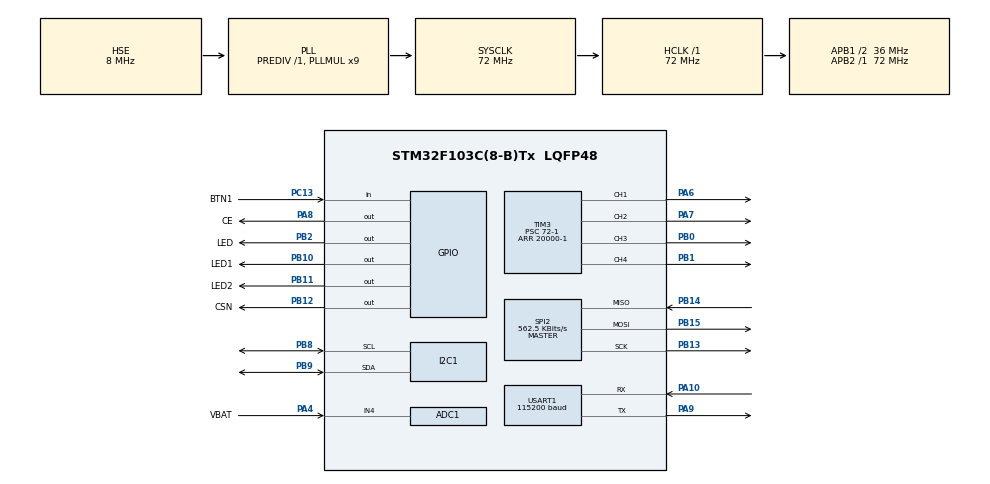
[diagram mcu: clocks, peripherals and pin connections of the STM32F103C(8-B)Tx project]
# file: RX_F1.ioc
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Mcu.Family=STM32F1
SPI2.VirtualType=VM_MASTER
ADC1.ContinuousConvMode=ENABLE
USART1.BaudRate=115200
NVIC.TIM1_UP_IRQn=true\:0\:0\:false\:false\:true\:true\:true
PB11.Signal=GPIO_Output
PB13.Signal=SPI2_SCK
PB15.Signal=SPI2_MOSI
TIM3.Channel-PWM\ Generation4\ CH4=TIM_CHANNEL_4
RCC.SYSCLKSource=RCC_SYSCLKSOURCE_PLLCLK
ProjectManager.StackSize=0x400
PD1-OSC_OUT.Signal=RCC_OSC_OUT
TIM1.Prescaler=6-1
RCC.HCLKFreq_Value=72000000
RCC.APB2TimFreq_Value=72000000
TIM3.Period=20000-1
Dma.ADC1.0.Direction=DMA_PERIPH_TO_MEMORY
Dma.ADC1.0.MemDataAlignment=DMA_MDATAALIGN_HALFWORD
RCC.AHBFreq_Value=72000000
SPI2.BaudRatePrescaler=SPI_BAUDRATEPRESCALER_64
TIM3.Channel-PWM\ Generation1\ CH1=TIM_CHANNEL_1
ADC1.Channel-0\#ChannelRegularConversion=ADC_CHANNEL_4
PB2.Signal=GPIO_Output
RCC.PLLMUL=RCC_PLL_MUL9
PB12.GPIO_Label=CSN
PA14.Mode=Serial_Wire
PB14.Mode=Full_Duplex_Master
TIM3.Prescaler=72-1
Dma.ADC1.0.PeriphInc=DMA_PINC_DISABLE
NVIC.TIM2_IRQn=true\:0\:0\:false\:false\:true\:true\:true
SPI2.CalculateBaudRate=562.5 KBits/s
PA8.Signal=GPIO_Output
SH.S_TIM3_CH1.0=TIM3_CH1,PWM Generation1 CH1
VP_TIM1_VS_ClockSourceINT.Mode=Internal
ADC1.SamplingTime-0\#ChannelRegularConversion=ADC_SAMPLETIME_239CYCLES_5
PB9.Signal=I2C1_SDA
Mcu.Package=LQFP48
TIM2.Prescaler=72-1
PA6.Signal=S_TIM3_CH1
PB1.Signal=S_TIM3_CH4
SPI2.Mode=SPI_MODE_MASTER
PA10.Signal=USART1_RX
RCC.APB1TimFreq_Value=72000000
SPI2.Direction=SPI_DIRECTION_2LINES
TIM1.Period=48000-1
PB13.Mode=Full_Duplex_Master
Dma.Request0=ADC1
PA4.GPIO_Label=VBAT
VP_TIM3_VS_ClockSourceINT.Mode=Internal
RCC.PLLSourceVirtual=RCC_PLLSOURCE_HSE
Dma.ADC1.0.Instance=DMA1_Channel1
ADC1.Rank-0\#ChannelRegularConversion=1
PD1-OSC_OUT.Mode=HSE-External-Oscillator
PA10.Mode=Asynchronous
PB11.GPIO_Label=LED2
PC13-TAMPER-RTC.Signal=GPIO_Input
PD0-OSC_IN.Signal=RCC_OSC_IN
RCC.APB1CLKDivider=RCC_HCLK_DIV2
SH.S_TIM3_CH3.0=TIM3_CH3,PWM Generation3 CH3
RCC.ADCPresc=RCC_ADCPCLK2_DIV6
PA13.Signal=SYS_JTMS-SWDIO
TIM3.Channel-PWM\ Generation3\ CH3=TIM_CHANNEL_3
Dma.ADC1.0.PeriphDataAlignment=DMA_PDATAALIGN_HALFWORD
PA9.Mode=Asynchronous
PA8.GPIO_Label=CE
ProjectManager.TargetToolchain=STM32CubeIDE
PB10.GPIO_Label=LED1
Dma.ADC1.0.Mode=DMA_CIRCULAR
I2C1.I2C_Mode=I2C_Fast
Dma.ADC1.0.Priority=DMA_PRIORITY_LOW
PB9.Mode=I2C
PA9.Signal=USART1_TX
RCC.USBFreq_Value=72000000
PD0-OSC_IN.Mode=HSE-External-Oscillator
PB10.Signal=GPIO_Output
PB14.Signal=SPI2_MISO
SH.S_TIM3_CH2.0=TIM3_CH2,PWM Generation2 CH2
NVIC.TIM1_TRG_COM_IRQn=true\:0\:0\:false\:false\:true\:true\:true
board=custom
PC13-TAMPER-RTC.GPIO_Label=BTN1
PB15.Mode=Full_Duplex_Master
RCC.APB2Freq_Value=72000000
VP_TIM2_VS_ClockSourceINT.Mode=Internal
SH.ADCx_IN4.0=ADC1_IN4,IN4
TIM2.Period=50000-1
ADC1.NbrOfConversion=1
PA13.Mode=Serial_Wire
Mcu.Name=STM32F103C(8-B)Tx
NVIC.TIM1_CC_IRQn=true\:0\:0\:false\:false\:true\:true\:true
PA4.Signal=ADCx_IN4
RCC.SYSCLKFreq_VALUE=72000000
ADC1.master=1
USART1.VirtualMode=VM_ASYNC
PA14.Signal=SYS_JTCK-SWCLK
Dma.ADC1.0.MemInc=DMA_MINC_ENABLE
PB2.GPIO_Label=LED
NVIC.TIM1_BRK_IRQn=true\:0\:0\:false\:false\:true\:true\:true
ProjectManager.HeapSize=0x200
NVIC.PriorityGroup=NVIC_PRIORITYGROUP_4
ADC1.NbrOfConversionFlag=1
TIM3.Channel-PWM\ Generation2\ CH2=TIM_CHANNEL_2
PB8.Mode=I2C
PB8.Signal=I2C1_SCL
NVIC.DMA1_Channel1_IRQn=true\:0\:0\:false\:false\:true\:false\:true
RCC.APB1Freq_Value=36000000
PB0.Signal=S_TIM3_CH3
PB12.Signal=GPIO_Output
SH.S_TIM3_CH4.0=TIM3_CH4,PWM Generation4 CH4
PA7.Signal=S_TIM3_CH2

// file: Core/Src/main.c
/* USER CODE BEGIN Header */
/**
  ******************************************************************************
  * @file           : main.c
  * @brief          : Main program body
  ******************************************************************************
  * @attention
  *
  * <h2><center>&copy; Copyright (c) 2021 STMicroelectronics.
  * All rights reserved.</center></h2>
  *
  * This software component is licensed by ST under BSD 3-Clause license,
  * the "License"; You may not use this file except in compliance with the
  * License. You may obtain a copy of the License at:
  *                        opensource.org/licenses/BSD-3-Clause
  *
  ******************************************************************************
  */
/* USER CODE END Header */
#include "main.h"

/* USER CODE BEGIN Includes */
#include "MY_NRF24L01.h"
#include "ST_MPU6050.h"
/* USER CODE END Includes */

/* USER CODE BEGIN PD */
#define dt 0.004f
//#define __ESC_PROGRAMMING
/* USER CODE END PD */

ADC_HandleTypeDef hadc1;
DMA_HandleTypeDef hdma_adc1;

I2C_HandleTypeDef hi2c1;

SPI_HandleTypeDef hspi2;

TIM_HandleTypeDef htim1;
TIM_HandleTypeDef htim2;
TIM_HandleTypeDef htim3;

UART_HandleTypeDef huart1;

/* USER CODE BEGIN PV */

uint8_t ui8RBuffer[32];
uint8_t ui8RAck[32];
uint64_t RxpipeAddrs = 0xFF223344AA;
ACK_Packagae ackPac = ACK_ERROR_SENT;
//For PWM
uint16_t ui16Pwm[4];

//For IMU
MPU6050_AcceDataScaled mpuAcScaled;
MPU6050_GyroDataScaled mpuGyScaled;
MPU6050_AcceAxis mpuAcAxis;
MPU6050_GyroAxis mpuGyAxis;
MPU6050_GyroDataScaled mpuGyOffset;
MPU6050_AcceAxis mpuAcOffset;
uint8_t ui8Buffer[40];
// Variable for user
uint16_t ui16UserBuffer;
uint16_t ui16UserThurst = 1000;
float flUSerRoll, flUserPitch, flUserYaw;
// For System
float VBat = 12;																// Battery Voltage
uint16_t ui16VBat;
float flThrust1 , flThrust2, flThrust3, flThrust4;			// Speed of Motor

// Variable for PID Roll
float errorRc, errorRp;
float KpR = 3.0  , KiR = 1.5 , KdR = 0.5;
float RollP, RollI, RollD;
float RollPID;

//Variable for PID Pitch
float errorPc, errorPp;
float KpP = 3.0  , KiP = 0.9, KdP = 0.15;
float PitchP, PitchI, PitchD;
float PitchPID;

//Variable for PID Yaw
float errorYc, errorYp;
float KpY = 3, KiY = 0.1, KdY;
float YawP, YawI, YawD;
float YawPID;
//System State
CONTROL_State ctlState = CONTROL_STOP;
/* USER CODE END PV */

void SystemClock_Config(void);
static void MX_GPIO_Init(void);
static void MX_DMA_Init(void);
static void MX_USART1_UART_Init(void);
static void MX_TIM1_Init(void);
static void MX_SPI2_Init(void);
static void MX_TIM2_Init(void);
static void MX_TIM3_Init(void);
static void MX_I2C1_Init(void);
static void MX_ADC1_Init(void);
/* USER CODE BEGIN PFP */
void HAL_TIM_PeriodElapsedCallback(TIM_HandleTypeDef *htim);
bool Compare_String (uint8_t* ui8String1, uint8_t* ui8String2, uint8_t ui8Size);
void ConvertString2Int (uint16_t* ui16Int, uint8_t* ui8String);
void RollPIDCal (void);
void AngleCal (void);
void PitchPIDCal (void);
void YawPIDCal (void);
void MotorThrust (void);
void CompareThrust (float* flValue);
void ConvertPID (float* flConstant, uint8_t* ui8Data);
void SetPID (float* flP, float* flI, float* flD);
void Baterry_Calculate (uint16_t *ui16AdcVal, float * Vbat);
/* USER CODE END PFP */

int main(void)
{

  /* MCU Configuration--------------------------------------------------------*/

  /* Reset of all peripherals, Initializes the Flash interface and the Systick. */
  HAL_Init();

  /* Configure the system clock */
  SystemClock_Config();

  /* Initialize all configured peripherals */
  MX_GPIO_Init();
  MX_DMA_Init();
  MX_USART1_UART_Init();
  MX_TIM1_Init();
  MX_SPI2_Init();
  MX_TIM2_Init();
  MX_TIM3_Init();
  MX_I2C1_Init();
  MX_ADC1_Init();
  /* USER CODE BEGIN 2 */
  HAL_TIM_PWM_Start(&htim3, TIM_CHANNEL_1);
  HAL_TIM_PWM_Start(&htim3, TIM_CHANNEL_2);
  HAL_TIM_PWM_Start(&htim3, TIM_CHANNEL_3);
  HAL_TIM_PWM_Start(&htim3, TIM_CHANNEL_4);
  htim3.Instance->CCR1 = 1000;
  htim3.Instance->CCR2 = 1000;
  htim3.Instance->CCR3 = 1000;
  htim3.Instance->CCR4 = 1000;

  //Mpu 6050 Initialise
#ifndef __ESC_PROGRAMMING
  uint8_t i ;
  MPU6050_InitTypedef mpuInit;
  mpuInit.ui8AcceFullScale = MPU6050_ACCE_FULLSCALE_2G;
  mpuInit.ui8GyroFullScale = MPU6050_GYRO_FULLSCALE_500DPS;
  mpuInit.ui8DLPF 		   = MPU6050_DLPF_4;
  MPU6050_Init(&mpuInit, &hi2c1);
  for (i = 0; i < 10; i++)
  {
	  HAL_GPIO_TogglePin(LED_GPIO_Port, LED_Pin);
	  if(HAL_GPIO_ReadPin(BTN1_GPIO_Port, BTN1_Pin) == 0)
	  {
		  MPU6050_Calib(&mpuAcAxis, &mpuGyOffset, 100);
		  break;
	  }
	  HAL_Delay(300);
  }
  if(mpuGyOffset.x == 0)
  {
	  mpuGyOffset.x = 0.754504144;
	  mpuGyOffset.y = -2.73450375;
	  mpuGyOffset.z = -0.113435157;
	  HAL_GPIO_WritePin(LED_GPIO_Port, LED_Pin, 0);
	  HAL_Delay(100);
	  HAL_GPIO_WritePin(LED_GPIO_Port, LED_Pin, 1);
	  HAL_Delay(100);
	  HAL_GPIO_WritePin(LED_GPIO_Port, LED_Pin, 0);
  }
#endif

  //NRF24 - L01 Initialise
  NRF24_begin(CSN_GPIO_Port, CSN_Pin, CE_Pin, hspi2);
  nrf24_DebugUART_Init(huart1);
  NRF24_setAutoAck(true);
  NRF24_setChannel(11);
  NRF24_setPayloadSize(32);
  NRF24_stopListening();
  NRF24_openReadingPipe(0, RxpipeAddrs);
  NRF24_openWritingPipe(RxpipeAddrs);
  NRF24_setAutoAck(true);
  NRF24_enableAckPayload();
  NRF24_enableDynamicPayloads();
//  NRF24_setPALevel(RF24_PA_m6dB);
  NRF24_startListening();
  printRadioSettings();
  HAL_TIM_Base_Start_IT(&htim1);
  HAL_TIM_Base_Start_IT(&htim2);
  HAL_Delay(5);
  HAL_ADC_Start_DMA(&hadc1, (uint32_t *)&ui16VBat, 1);
  /* USER CODE END 2 */

  /* Infinite loop */
  while (1)
  {

  }
}

void SystemClock_Config(void)
{
  RCC_OscInitTypeDef RCC_OscInitStruct = {0};
  RCC_ClkInitTypeDef RCC_ClkInitStruct = {0};
  RCC_PeriphCLKInitTypeDef PeriphClkInit = {0};

  /** Initializes the RCC Oscillators according to the specified parameters
  * in the RCC_OscInitTypeDef structure.
  */
  RCC_OscInitStruct.OscillatorType = RCC_OSCILLATORTYPE_HSE;
  RCC_OscInitStruct.HSEState = RCC_HSE_ON;
  RCC_OscInitStruct.HSEPredivValue = RCC_HSE_PREDIV_DIV1;
  RCC_OscInitStruct.HSIState = RCC_HSI_ON;
  RCC_OscInitStruct.PLL.PLLState = RCC_PLL_ON;
  RCC_OscInitStruct.PLL.PLLSource = RCC_PLLSOURCE_HSE;
  RCC_OscInitStruct.PLL.PLLMUL = RCC_PLL_MUL9;
  if (HAL_RCC_OscConfig(&RCC_OscInitStruct) != HAL_OK)
  {
    Error_Handler();
  }
  /** Initializes the CPU, AHB and APB buses clocks
  */
  RCC_ClkInitStruct.ClockType = RCC_CLOCKTYPE_HCLK|RCC_CLOCKTYPE_SYSCLK
                              |RCC_CLOCKTYPE_PCLK1|RCC_CLOCKTYPE_PCLK2;
  RCC_ClkInitStruct.SYSCLKSource = RCC_SYSCLKSOURCE_PLLCLK;
  RCC_ClkInitStruct.AHBCLKDivider = RCC_SYSCLK_DIV1;
  RCC_ClkInitStruct.APB1CLKDivider = RCC_HCLK_DIV2;
  RCC_ClkInitStruct.APB2CLKDivider = RCC_HCLK_DIV1;

  if (HAL_RCC_ClockConfig(&RCC_ClkInitStruct, FLASH_LATENCY_2) != HAL_OK)
  {
    Error_Handler();
  }
  PeriphClkInit.PeriphClockSelection = RCC_PERIPHCLK_ADC;
  PeriphClkInit.AdcClockSelection = RCC_ADCPCLK2_DIV6;
  if (HAL_RCCEx_PeriphCLKConfig(&PeriphClkInit) != HAL_OK)
  {
    Error_Handler();
  }
}

static void MX_ADC1_Init(void)
{

  ADC_ChannelConfTypeDef sConfig = {0};

  /** Common config
  */
  hadc1.Instance = ADC1;
  hadc1.Init.ScanConvMode = ADC_SCAN_DISABLE;
  hadc1.Init.ContinuousConvMode = ENABLE;
  hadc1.Init.DiscontinuousConvMode = DISABLE;
  hadc1.Init.ExternalTrigConv = ADC_SOFTWARE_START;
  hadc1.Init.DataAlign = ADC_DATAALIGN_RIGHT;
  hadc1.Init.NbrOfConversion = 1;
  if (HAL_ADC_Init(&hadc1) != HAL_OK)
  {
    Error_Handler();
  }
  /** Configure Regular Channel
  */
  sConfig.Channel = ADC_CHANNEL_4;
  sConfig.Rank = ADC_REGULAR_RANK_1;
  sConfig.SamplingTime = ADC_SAMPLETIME_239CYCLES_5;
  if (HAL_ADC_ConfigChannel(&hadc1, &sConfig) != HAL_OK)
  {
    Error_Handler();
  }

}

static void MX_I2C1_Init(void)
{

  hi2c1.Instance = I2C1;
  hi2c1.Init.ClockSpeed = 400000;
  hi2c1.Init.DutyCycle = I2C_DUTYCYCLE_2;
  hi2c1.Init.OwnAddress1 = 0;
  hi2c1.Init.AddressingMode = I2C_ADDRESSINGMODE_7BIT;
  hi2c1.Init.DualAddressMode = I2C_DUALADDRESS_DISABLE;
  hi2c1.Init.OwnAddress2 = 0;
  hi2c1.Init.GeneralCallMode = I2C_GENERALCALL_DISABLE;
  hi2c1.Init.NoStretchMode = I2C_NOSTRETCH_DISABLE;
  if (HAL_I2C_Init(&hi2c1) != HAL_OK)
  {
    Error_Handler();
  }

}

static void MX_SPI2_Init(void)
{

  /* SPI2 parameter configuration*/
  hspi2.Instance = SPI2;
  hspi2.Init.Mode = SPI_MODE_MASTER;
  hspi2.Init.Direction = SPI_DIRECTION_2LINES;
  hspi2.Init.DataSize = SPI_DATASIZE_8BIT;
  hspi2.Init.CLKPolarity = SPI_POLARITY_LOW;
  hspi2.Init.CLKPhase = SPI_PHASE_1EDGE;
  hspi2.Init.NSS = SPI_NSS_SOFT;
  hspi2.Init.BaudRatePrescaler = SPI_BAUDRATEPRESCALER_64;
  hspi2.Init.FirstBit = SPI_FIRSTBIT_MSB;
  hspi2.Init.TIMode = SPI_TIMODE_DISABLE;
  hspi2.Init.CRCCalculation = SPI_CRCCALCULATION_DISABLE;
  hspi2.Init.CRCPolynomial = 10;
  if (HAL_SPI_Init(&hspi2) != HAL_OK)
  {
    Error_Handler();
  }

}

static void MX_TIM1_Init(void)
{

  TIM_ClockConfigTypeDef sClockSourceConfig = {0};
  TIM_MasterConfigTypeDef sMasterConfig = {0};

  htim1.Instance = TIM1;
  htim1.Init.Prescaler = 6-1;
  htim1.Init.CounterMode = TIM_COUNTERMODE_UP;
  htim1.Init.Period = 48000-1;
  htim1.Init.ClockDivision = TIM_CLOCKDIVISION_DIV1;
  htim1.Init.RepetitionCounter = 0;
  htim1.Init.AutoReloadPreload = TIM_AUTORELOAD_PRELOAD_DISABLE;
  if (HAL_TIM_Base_Init(&htim1) != HAL_OK)
  {
    Error_Handler();
  }
  sClockSourceConfig.ClockSource = TIM_CLOCKSOURCE_INTERNAL;
  if (HAL_TIM_ConfigClockSource(&htim1, &sClockSourceConfig) != HAL_OK)
  {
    Error_Handler();
  }
  sMasterConfig.MasterOutputTrigger = TIM_TRGO_RESET;
  sMasterConfig.MasterSlaveMode = TIM_MASTERSLAVEMODE_DISABLE;
  if (HAL_TIMEx_MasterConfigSynchronization(&htim1, &sMasterConfig) != HAL_OK)
  {
    Error_Handler();
  }

}

static void MX_TIM2_Init(void)
{

  TIM_ClockConfigTypeDef sClockSourceConfig = {0};
  TIM_MasterConfigTypeDef sMasterConfig = {0};

  htim2.Instance = TIM2;
  htim2.Init.Prescaler = 72-1;
  htim2.Init.CounterMode = TIM_COUNTERMODE_UP;
  htim2.Init.Period = 50000-1;
  htim2.Init.ClockDivision = TIM_CLOCKDIVISION_DIV1;
  htim2.Init.AutoReloadPreload = TIM_AUTORELOAD_PRELOAD_DISABLE;
  if (HAL_TIM_Base_Init(&htim2) != HAL_OK)
  {
    Error_Handler();
  }
  sClockSourceConfig.ClockSource = TIM_CLOCKSOURCE_INTERNAL;
  if (HAL_TIM_ConfigClockSource(&htim2, &sClockSourceConfig) != HAL_OK)
  {
    Error_Handler();
  }
  sMasterConfig.MasterOutputTrigger = TIM_TRGO_RESET;
  sMasterConfig.MasterSlaveMode = TIM_MASTERSLAVEMODE_DISABLE;
  if (HAL_TIMEx_MasterConfigSynchronization(&htim2, &sMasterConfig) != HAL_OK)
  {
    Error_Handler();
  }

}

static void MX_TIM3_Init(void)
{

  TIM_ClockConfigTypeDef sClockSourceConfig = {0};
  TIM_MasterConfigTypeDef sMasterConfig = {0};
  TIM_OC_InitTypeDef sConfigOC = {0};

  htim3.Instance = TIM3;
  htim3.Init.Prescaler = 72-1;
  htim3.Init.CounterMode = TIM_COUNTERMODE_UP;
  htim3.Init.Period = 20000-1;
  htim3.Init.ClockDivision = TIM_CLOCKDIVISION_DIV1;
  htim3.Init.AutoReloadPreload = TIM_AUTORELOAD_PRELOAD_DISABLE;
  if (HAL_TIM_Base_Init(&htim3) != HAL_OK)
  {
    Error_Handler();
  }
  sClockSourceConfig.ClockSource = TIM_CLOCKSOURCE_INTERNAL;
  if (HAL_TIM_ConfigClockSource(&htim3, &sClockSourceConfig) != HAL_OK)
  {
    Error_Handler();
  }
  if (HAL_TIM_PWM_Init(&htim3) != HAL_OK)
  {
    Error_Handler();
  }
  sMasterConfig.MasterOutputTrigger = TIM_TRGO_RESET;
  sMasterConfig.MasterSlaveMode = TIM_MASTERSLAVEMODE_DISABLE;
  if (HAL_TIMEx_MasterConfigSynchronization(&htim3, &sMasterConfig) != HAL_OK)
  {
    Error_Handler();
  }
  sConfigOC.OCMode = TIM_OCMODE_PWM1;
  sConfigOC.Pulse = 0;
  sConfigOC.OCPolarity = TIM_OCPOLARITY_HIGH;
  sConfigOC.OCFastMode = TIM_OCFAST_DISABLE;
  if (HAL_TIM_PWM_ConfigChannel(&htim3, &sConfigOC, TIM_CHANNEL_1) != HAL_OK)
  {
    Error_Handler();
  }
  if (HAL_TIM_PWM_ConfigChannel(&htim3, &sConfigOC, TIM_CHANNEL_2) != HAL_OK)
  {
    Error_Handler();
  }
  if (HAL_TIM_PWM_ConfigChannel(&htim3, &sConfigOC, TIM_CHANNEL_3) != HAL_OK)
  {
    Error_Handler();
  }
  if (HAL_TIM_PWM_ConfigChannel(&htim3, &sConfigOC, TIM_CHANNEL_4) != HAL_OK)
  {
    Error_Handler();
  }
  HAL_TIM_MspPostInit(&htim3);

}

static void MX_USART1_UART_Init(void)
{

  huart1.Instance = USART1;
  huart1.Init.BaudRate = 115200;
  huart1.Init.WordLength = UART_WORDLENGTH_8B;
  huart1.Init.StopBits = UART_STOPBITS_1;
  huart1.Init.Parity = UART_PARITY_NONE;
  huart1.Init.Mode = UART_MODE_TX_RX;
  huart1.Init.HwFlowCtl = UART_HWCONTROL_NONE;
  huart1.Init.OverSampling = UART_OVERSAMPLING_16;
  if (HAL_UART_Init(&huart1) != HAL_OK)
  {
    Error_Handler();
  }

}

static void MX_DMA_Init(void)
{

  /* DMA controller clock enable */
  __HAL_RCC_DMA1_CLK_ENABLE();

  /* DMA interrupt init */
  /* DMA1_Channel1_IRQn interrupt configuration */
  HAL_NVIC_SetPriority(DMA1_Channel1_IRQn, 0, 0);
  HAL_NVIC_EnableIRQ(DMA1_Channel1_IRQn);

}

static void MX_GPIO_Init(void)
{
  GPIO_InitTypeDef GPIO_InitStruct = {0};

  /* GPIO Ports Clock Enable */
  __HAL_RCC_GPIOC_CLK_ENABLE();
  __HAL_RCC_GPIOD_CLK_ENABLE();
  __HAL_RCC_GPIOA_CLK_ENABLE();
  __HAL_RCC_GPIOB_CLK_ENABLE();

  /*Configure GPIO pin Output Level */
  HAL_GPIO_WritePin(GPIOB, LED_Pin|LED1_Pin|LED2_Pin|CSN_Pin, GPIO_PIN_RESET);

  /*Configure GPIO pin Output Level */
  HAL_GPIO_WritePin(CE_GPIO_Port, CE_Pin, GPIO_PIN_RESET);

  /*Configure GPIO pin : BTN1_Pin */
  GPIO_InitStruct.Pin = BTN1_Pin;
  GPIO_InitStruct.Mode = GPIO_MODE_INPUT;
  GPIO_InitStruct.Pull = GPIO_NOPULL;
  HAL_GPIO_Init(BTN1_GPIO_Port, &GPIO_InitStruct);

  /*Configure GPIO pins : LED_Pin LED1_Pin LED2_Pin CSN_Pin */
  GPIO_InitStruct.Pin = LED_Pin|LED1_Pin|LED2_Pin|CSN_Pin;
  GPIO_InitStruct.Mode = GPIO_MODE_OUTPUT_PP;
  GPIO_InitStruct.Pull = GPIO_NOPULL;
  GPIO_InitStruct.Speed = GPIO_SPEED_FREQ_LOW;
  HAL_GPIO_Init(GPIOB, &GPIO_InitStruct);

  /*Configure GPIO pin : CE_Pin */
  GPIO_InitStruct.Pin = CE_Pin;
  GPIO_InitStruct.Mode = GPIO_MODE_OUTPUT_PP;
  GPIO_InitStruct.Pull = GPIO_NOPULL;
  GPIO_InitStruct.Speed = GPIO_SPEED_FREQ_LOW;
  HAL_GPIO_Init(CE_GPIO_Port, &GPIO_InitStruct);

}

/* USER CODE BEGIN 4 */
void HAL_TIM_PeriodElapsedCallback(TIM_HandleTypeDef *htim)
{
	if(htim->Instance == htim1.Instance)
	{
		/* Angle Calculate */
		AngleCal();

		/* Roll PID calculate */
		RollPIDCal();

		/* Pitch PID calculate */
		PitchPIDCal();

		/* Yaw PID calculate */
		YawPIDCal();

		/* Compile 3 PID for 4 Motor Channel */
		MotorThrust();
		/* Battery voltage */
		Baterry_Calculate(&ui16VBat, &VBat);
	}
	if(htim->Instance == htim2.Instance)
	{
		static uint16_t i = 0;
		static uint16_t count = 0;
		i++;							// This value is used to detect lost connection
		//Prepare String for ACK
		if(NRF24_available())			//Read Data Payload
		{
			i = 0;
			memset(ui8RBuffer, '\0', sizeof(ui8RBuffer));
			NRF24_read(ui8RBuffer, 32);
			memset(ui8RAck, '\0', sizeof(ui8RAck));
			sprintf((char*)ui8RAck, "ACKR%05.1fP%05.1fY%05.0fB%04.1f", mpuGyAxis.roll, mpuGyAxis.pitch, mpuGyAxis.yaw, VBat);
			NRF24_writeAckPayload(0, ui8RAck, 32);
			if(Compare_String(ui8RBuffer, (uint8_t*)"CMD", 3))			// Read CMD data
			{
				if(ui8RBuffer[3] == 'T')
				{
					ConvertString2Int(&ui16UserBuffer, &ui8RBuffer[4]);
					ui16UserThurst = ui16UserBuffer;
#ifndef __ESC_PROGRAMMING
					if(ui16UserThurst > 1600)
						ui16UserThurst = 1600;
#endif
				}
				if(ui8RBuffer[8] == 'R')
				{
					ConvertString2Int(&ui16UserBuffer, &ui8RBuffer[9]);
					flUSerRoll = flUSerRoll*0.7 +  0.3*((float)ui16UserBuffer - 1500)*20/500;
					if((flUSerRoll > -0.5) && (flUSerRoll < 0.5) )
					{
						flUSerRoll = 0;
					}
					if(ui16UserThurst < 1030)
						flUSerRoll = 0;
				}
				if(ui8RBuffer[13] == 'P')
				{
					ConvertString2Int(&ui16UserBuffer, &ui8RBuffer[14]);
					flUserPitch =flUserPitch*0.7 - 0.3*((float)ui16UserBuffer - 1500)*20/500;
					if((flUserPitch > -0.5) && (flUserPitch < 0.5) )
					{
						flUserPitch = 0;
					}
					if(ui16UserThurst < 1030)
						flUserPitch = 0;
				}
				if(ui8RBuffer[18] == 'Y')
				{
					float buf;
					ConvertString2Int(&ui16UserBuffer, &ui8RBuffer[19]);
					buf = ((float)ui16UserBuffer - 1500)*2/500;
					if((buf > -0.2) && (buf < 0.2) )
					{
						buf = 0;
					}
					flUserYaw -= buf;
					if(ui16UserThurst < 1030)
						flUserYaw = 0;
				}
			}
			if(Compare_String(ui8RBuffer, (uint8_t*)"PID", 3))				// Read PID setup
			{
				HAL_GPIO_TogglePin(LED_GPIO_Port, LED_Pin);
				switch (ui8RBuffer[3])
				{
					case '1':
						SetPID(&KpR, &KiR, &KdR);
						break;
					case '2':
						SetPID(&KpP, &KiP, &KdP);
						break;
					case '3':
						SetPID(&KpY, &KiY, &KdY);
					break;
					default:
						break;
				}
			}
			if(Compare_String(ui8RBuffer, (uint8_t*)"CTL", 3))
			{
				switch (ui8RBuffer[3])
				{
					case 'S':
						if(Compare_String(&ui8RBuffer[4],(uint8_t*) "START", 4))
						{
							ctlState = CONTROL_READY;
						}
						if(Compare_String(&ui8RBuffer[4], (uint8_t*)"STOP", 3))
						{
							ctlState = CONTROL_STOP;
						}
						break;
					default:
						break;
				}
			}
		}
		if(ui16UserThurst < 1020)
		{
			count++;
			if(count > 40)
			{
				count = 0;
				RollI = 0;
				PitchI = 0;
				YawI = 0;
				mpuGyAxis.yaw = 0;
				mpuGyAxis.pitch = mpuAcAxis.pitch;
				mpuGyAxis.roll = mpuAcAxis.roll;
				HAL_GPIO_TogglePin(LED1_GPIO_Port, LED1_Pin);
			}
		}
		else
		{
			count = 0;
			HAL_GPIO_WritePin(LED1_GPIO_Port, LED1_Pin, 0);
		}
		if(i > 20)			// Lost Connection with TX
		{
			HAL_GPIO_TogglePin(LED_GPIO_Port, LED_Pin);
			// Set User Thrust, Pitch, Roll and Yaw Angle to Default
			ui16UserThurst = 1000;
			flUSerRoll = 0;
			flUserPitch = 0;
			flUserYaw = 0;
		}
	}
	}

bool Compare_String (uint8_t* ui8String1, uint8_t* ui8String2, uint8_t ui8Size)
{
	uint8_t i;
	for (i = 0; i < ui8Size; i++)
	{
		if(*ui8String1 != *ui8String2)
		{
			return false;
		}
		ui8String1++;
		ui8String2++;
	}
	return true;
	}
void ConvertString2Int (uint16_t* ui16Int, uint8_t* ui8String)
{
	uint8_t ui8Buffer[4];
	uint8_t i;
	for(i = 0; i < 4; i++)
	{
		ui8Buffer[i] = *ui8String - 0x30;
		ui8String++;
	}
	*ui16Int = ui8Buffer[0]*1000 + ui8Buffer[1]*100 + ui8Buffer[2]*10 + ui8Buffer[3];

	}
void AngleCal (void)
{
	mpuAcScaled = MPU6050_AcceRead_Scaled();
	mpuGyScaled = MPU6050_GyroRead_Scaled();
    mpuGyScaled.x -= mpuGyOffset.x;
    mpuGyScaled.y -= mpuGyOffset.y;
    mpuGyScaled.z -= mpuGyOffset.z;

    mpuAcAxis.pitch = -180* atan2f(mpuAcScaled.x, sqrt(mpuAcScaled.y*mpuAcScaled.y + mpuAcScaled.z*mpuAcScaled.z))/M_PI;
    mpuAcAxis.roll = 180* atan2f(mpuAcScaled.y, sqrt(mpuAcScaled.x*mpuAcScaled.x + mpuAcScaled.z*mpuAcScaled.z))/M_PI;

    mpuAcAxis.pitch -= mpuAcOffset.pitch;
    mpuAcAxis.roll -= mpuAcOffset.roll;

    mpuGyAxis.roll += mpuGyScaled.x*dt;
    mpuGyAxis.pitch += mpuGyScaled.y*dt;
    mpuGyAxis.yaw += mpuGyScaled.z*dt;

    mpuGyAxis.pitch = mpuGyAxis.pitch*0.9996 + 0.0004*mpuAcAxis.pitch;
    mpuGyAxis.roll = mpuGyAxis.roll*0.9996 + 0.0004*mpuAcAxis.roll;
	}
void RollPIDCal (void)
{
	errorRc = flUSerRoll - mpuGyAxis.roll;
	RollP = KpR*errorRc;
	RollI += KiR*(errorRc + errorRp)/2*dt;
	RollD = KdR*(errorRc - errorRp)/dt;
	RollPID = RollP + RollI + RollD;
	if (RollPID > 400)
		RollPID = 400;
	if(RollPID < -400)
		RollPID = -400;
	errorRp = errorRc;
	}
void PitchPIDCal (void)
{
	errorPc = flUserPitch - mpuGyAxis.pitch;
	PitchP = KpP*errorPc;
	PitchI += KiP*(errorPc + errorPp)/2*dt;
	PitchD = KiP*(errorPc - errorPp)/dt;
	PitchPID = PitchP + PitchI + PitchD;
	if (PitchPID > 400)
		PitchPID = 400;
	if(PitchPID < -400)
		PitchPID = -400;
	errorPp = errorPc;
	}
void YawPIDCal (void)
{
	errorYc = flUserYaw - mpuGyAxis.yaw;
	YawP = KpY*errorYc;
	YawI += KiY*(errorYc + errorYp)/2*dt;
	YawD = KdY*(errorYc - errorYp)/dt;
	YawPID = YawP + YawI + YawD;
	if (YawPID > 300)
		YawPID = 300;
	if(YawPID <-300)
		YawPID = -300;
	errorYp = errorYc;
	}
void MotorThrust (void)
{
	flThrust1 = ui16UserThurst - RollPID + PitchPID + YawPID;
	flThrust2 = ui16UserThurst + RollPID + PitchPID - YawPID;
	flThrust3 = ui16UserThurst + RollPID - PitchPID + YawPID;
	flThrust4 = ui16UserThurst - RollPID - PitchPID - YawPID;
	if(ctlState == CONTROL_STOP)
	{
		flThrust1 = 1000;
		flThrust2 = 1000;
		flThrust3 = 1000;
		flThrust4 = 1000;
		HAL_GPIO_WritePin(LED2_GPIO_Port, LED2_Pin, 1);
	}
	else
	{
		HAL_GPIO_WritePin(LED2_GPIO_Port, LED2_Pin, 0);
	}
	if(ui16UserThurst < 1010)
	{
		flThrust1 = 1000;
		flThrust2 = 1000;
		flThrust3 = 1000;
		flThrust4 = 1000;
	}
	else
	{
#ifndef  __ESC_PROGRAMMING
	CompareThrust(&flThrust1);
	CompareThrust(&flThrust2);
	CompareThrust(&flThrust3);
	CompareThrust(&flThrust4);
#else
	if(ui16UserThurst > 1950)
	{
		flThrust1 = 2000;
		flThrust2 = 2000;
		flThrust3 = 2000;
		flThrust4 = 2000;
	}
#endif
	}
	htim3.Instance->CCR1 = (uint16_t)flThrust1;
	htim3.Instance->CCR2 = (uint16_t)flThrust2;
	htim3.Instance->CCR3 = (uint16_t)flThrust3;
	htim3.Instance->CCR4 = (uint16_t)flThrust4;
//	htim3.Instance->CCR1 = ui16UserThurst;

	}
void CompareThrust (float* flValue)
{
	if (*flValue > 1700)
		*flValue  = 1700;
	if (*flValue  < 1100)
		*flValue = 1100;
	}
void ConvertPID (float* flConstant, uint8_t* ui8Data)
{
	*flConstant = (float)((*ui8Data) - 0x30)*10 + (float)(*(ui8Data + 1) - 0x30) + (float)(*(ui8Data + 3) - 0x30)/10 + (float)(*(ui8Data + 4) - 0x30)/100 + (float)(*(ui8Data + 5) - 0x30)/1000;
	}
void SetPID (float* flP, float* flI, float* flD)
{
	if(ui8RBuffer[4] == 'P')
	{
		ConvertPID(flP, &ui8RBuffer[5]);
	}
	if(ui8RBuffer[11] == 'I')
	{
		ConvertPID(flI, &ui8RBuffer[12]);
	}
	if(ui8RBuffer[18] == 'D')
	{
		ConvertPID(flD, &ui8RBuffer[19]);
	}
	}
void Baterry_Calculate (uint16_t *ui16AdcVal, float * Vbat)
{
	float Vbatbuf;
	Vbatbuf = (float)(*ui16AdcVal + 70)*3.268/4095*11 + 0.7;
	*Vbat = *Vbat*0.7 + Vbatbuf*0.3;
	}
/* USER CODE END 4 */

void Error_Handler(void)
{
  __disable_irq();
  while (1)
  {
  }
}

/************************ (C) COPYRIGHT STMicroelectronics *****END OF FILE****/
